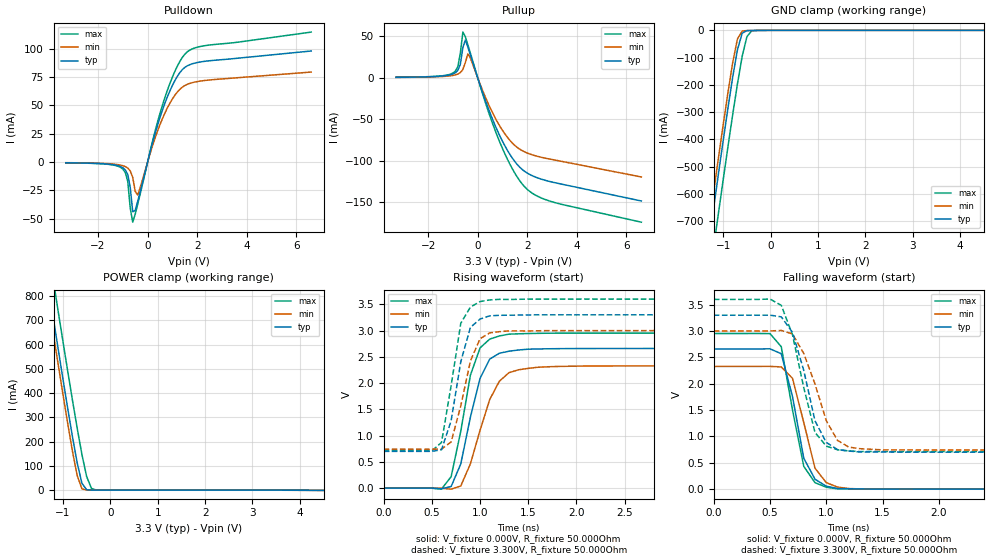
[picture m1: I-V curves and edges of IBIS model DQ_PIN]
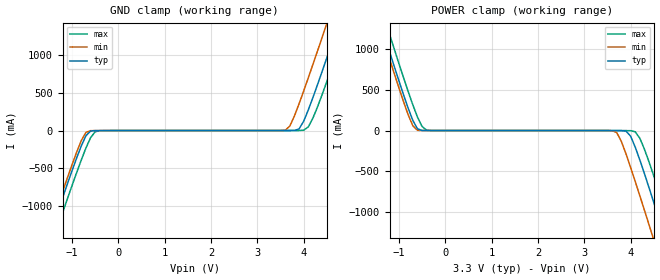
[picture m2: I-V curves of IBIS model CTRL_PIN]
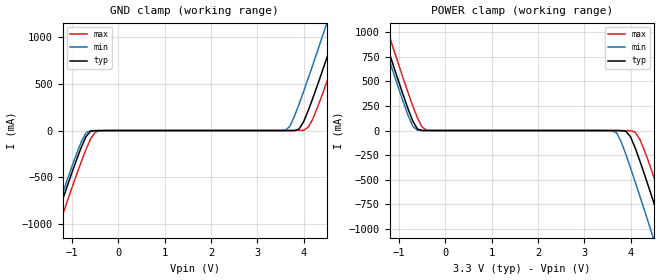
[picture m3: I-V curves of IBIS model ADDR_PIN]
|   k4s56xx32e.ibs : IBIS file for K4S56**32E-T75 by SAIBIS version 1.94
[IBIS Ver]   3.2
[File name]   k4s56xx32e.ibs
[File Rev]   1.00
[Date]   12/01/2004
[Source]   File generated by Jae-hyung LEE, DRAM Design, SAMSUNG Elec.
   > Samsung Electronics Co.
   > San #16 Banwol-Ri, Taean-Eup
   > Hwasung-City, Gyeonggi-Do
   > 445-701, Korea
   Contact : Kyu-hyoun Kim <kyu-hyoun@sec.samsung.com>
[Notes]   Rev 1.5
[Disclaimer] THESE IBIS MODELS ARE PROVIDED "AS IS" WITH NO WARRANTY AND
                SAMSUNG IS NOT RESPONSIBLE FOR ANY PROBLEMS THIS MODEL MAY CAUSE
                TO THE CUSTOMERS. THESE MODELS ARE SUBJECT TO CHANGE WITHOUT ANY
                NOTICE.
[Copyright]   Copyright 2004. Samsung Electronics Co. All rights reserved.
|   COMPONENT : K4S561632E-T75
[Component]   K4S561632E-T75
[Manufacturer]  Samsung Electronics Co.
[Package]
|Variable   typ   min   max
R_pkg   0.353   0.255   0.512
L_pkg   3.197nH   2.081nH   4.394nH
C_pkg   1.032pF   0.816pF   1.396pF
[Pin]   signal_name   model_name   R_pin   L_pin   C_pin
1   VDD   POWER
2   DQ0   DQ_PIN   0.512   3.162nH   1.396pF
3   VDDQ   POWER
4   DQ1   DQ_PIN   0.447   3.193nH   1.153pF
5   DQ2   DQ_PIN   0.426   2.980nH   1.191pF
6   VSSQ   GND
7   DQ3   DQ_PIN   0.381   2.652nH   1.036pF
8   DQ4   DQ_PIN   0.364   2.511nH   0.918pF
9   VDDQ   POWER
10   DQ5   DQ_PIN   0.342   2.307nH   0.833pF
11   DQ6   DQ_PIN   0.342   2.338nH   0.846pF
12   VSSQ   GND
13   DQ7   DQ_PIN   0.387   2.194nH   0.900pF
14   VDD   POWER
15   LDQM   DM_PIN   0.399   2.535nH   1.006pF
16   WEB   CTRL_PIN   0.327   3.042nH   0.912pF
17   CASB   CTRL_PIN   0.294   3.183nH   0.879pF
18   RASB   CTRL_PIN   0.285   3.298nH   0.844pF
19   CSB   CTRL_PIN   0.295   3.435nH   0.886pF
20   BA0   ADDR_PIN   0.308   3.619nH   0.949pF
21   BA1   ADDR_PIN   0.308   3.820nH   1.058pF
22   A10   ADDR_PIN   0.326   4.028nH   1.135pF
23   A0   ADDR_PIN   0.346   4.222nH   1.186pF
24   A1   ADDR_PIN   0.372   4.382nH   1.172pF
25   A2   ADDR_PIN   0.410   4.394nH   1.304pF
26   A3   ADDR_PIN   0.488   3.870nH   1.375pF
27   VDD   POWER
28   VSS   GND
29   A4   ADDR_PIN   0.455   3.722nH   1.360pF
30   A5   ADDR_PIN   0.384   4.194nH   1.317pF
31   A6   ADDR_PIN   0.348   4.165nH   1.167pF
32   A7   ADDR_PIN   0.322   3.998nH   1.088pF
33   A8   ADDR_PIN   0.304   3.802nH   1.083pF
34   A9   ADDR_PIN   0.285   3.596nH   1.008pF
35   A11   ADDR_PIN   0.270   3.402nH   0.922pF
36   A12   ADDR_PIN   0.258   3.233nH   0.869pF
37   CKE   CTRL_PIN   0.255   3.122nH   0.823pF
38   CLK   CLOCK_PIN   0.259   3.053nH   0.838pF
39   UDQM   DM_PIN   0.282   2.991nH   0.889pF
40   N.C   NC
41   VSS   GND
42   DQ8   DQ_PIN   0.351   2.097nH   0.846pF
43   VDDQ   POWER
44   DQ9   DQ_PIN   0.335   2.081nH   0.832pF
45   DQ10   DQ_PIN   0.317   2.145nH   0.816pF
46   VSSQ   GND
47   DQ11   DQ_PIN   0.334   2.384nH   0.903pF
48   DQ12   DQ_PIN   0.352   2.527nH   1.013pF
49   VDDQ   POWER
50   DQ13   DQ_PIN   0.396   2.857nH   1.027pF
51   DQ14   DQ_PIN   0.418   3.068nH   1.127pF
52   VSSQ   GND
53   DQ15   DQ_PIN   0.481   3.063nH   1.346pF
54   VSS   GND
|   COMPONENT : K4S560832E-T75
[Component]   K4S560832E-T75
[Manufacturer]  Samsung Electronics Co.
[Package]
|Variable   typ   min   max
R_pkg   0.346   0.255   0.512
L_pkg   3.398nH   2.081nH   4.394nH
C_pkg   1.051pF   0.823pF   1.396pF
[Pin]   signal_name   model_name   R_pin   L_pin   C_pin
1   VDD   POWER
2   DQ0   DQ_PIN   0.512   3.162nH   1.396pF
3   VDDQ   POWER
4   N.C   NC
5   DQ1   DQ_PIN   0.426   2.980nH   1.191pF
6   VSSQ   GND
7   N.C   NC
8   DQ2   DQ_PIN   0.364   2.511nH   0.918pF
9   VDDQ   POWER
10   N.C   NC
11   DQ3   DQ_PIN   0.342   2.338nH   0.846pF
12   VSSQ   GND
13   N.C   NC
14   VDD   POWER
15   N.C   NC
16   WEB   CTRL_PIN   0.327   3.042nH   0.912pF
17   CASB   CTRL_PIN   0.294   3.183nH   0.879pF
18   RASB   CTRL_PIN   0.285   3.298nH   0.844pF
19   CSB   CTRL_PIN   0.295   3.435nH   0.886pF
20   BA0   ADDR_PIN   0.308   3.619nH   0.949pF
21   BA1   ADDR_PIN   0.308   3.820nH   1.058pF
22   A10   ADDR_PIN   0.326   4.028nH   1.135pF
23   A0   ADDR_PIN   0.346   4.222nH   1.186pF
24   A1   ADDR_PIN   0.372   4.382nH   1.172pF
25   A2   ADDR_PIN   0.410   4.394nH   1.304pF
26   A3   ADDR_PIN   0.488   3.870nH   1.375pF
27   VDD   POWER
28   VSS   GND
29   A4   ADDR_PIN   0.455   3.722nH   1.360pF
30   A5   ADDR_PIN   0.384   4.194nH   1.317pF
31   A6   ADDR_PIN   0.348   4.165nH   1.167pF
32   A7   ADDR_PIN   0.322   3.998nH   1.088pF
33   A8   ADDR_PIN   0.304   3.802nH   1.083pF
34   A9   ADDR_PIN   0.285   3.596nH   1.008pF
35   A11   ADDR_PIN   0.270   3.402nH   0.922pF
36   A12   ADDR_PIN   0.258   3.233nH   0.869pF
37   CKE   CTRL_PIN   0.255   3.122nH   0.823pF
38   CLK   CLOCK_PIN   0.259   3.053nH   0.838pF
39   DQM   DM_PIN   0.282   2.991nH   0.889pF
40   N.C   NC
41   VSS   GND
42   N.C   NC
43   VDDQ   POWER
44   DQ4   DQ_PIN   0.335   2.081nH   0.832pF
45   N.C   NC
46   VSSQ   GND
47   DQ5   DQ_PIN   0.334   2.384nH   0.903pF
48   N.C   NC
49   VDDQ   POWER
50   DQ6   DQ_PIN   0.396   2.857nH   1.027pF
51   N.C   NC
52   VSSQ   GND
53   DQ7   DQ_PIN   0.481   3.063nH   1.346pF
54   VSS   GND
|   COMPONENT : K4S560432E-T75
[Component]   K4S560432E-T75
[Manufacturer]  Samsung Electronics Co.
[Package]
|Variable   typ   min   max
R_pkg   0.334   0.255   0.488
L_pkg   3.493nH   2.081nH   4.394nH
C_pkg   1.037pF   0.823pF   1.375pF
[Pin]   signal_name   model_name   R_pin   L_pin   C_pin
1   VDD   POWER
2   N.C   NC
3   VDDQ   POWER
4   N.C   NC
5   DQ0   DQ_PIN   0.426   2.980nH   1.191pF
6   VSSQ   GND
7   N.C   NC
8   N.C   NC
9   VDDQ   POWER
10   N.C   NC
11   DQ1   DQ_PIN   0.342   2.338nH   0.846pF
12   VSSQ   GND
13   N.C   NC
14   VDD   POWER
15   N.C   NC
16   WEB   CTRL_PIN   0.327   3.042nH   0.912pF
17   CASB   CTRL_PIN   0.294   3.183nH   0.879pF
18   RASB   CTRL_PIN   0.285   3.298nH   0.844pF
19   CSB   CTRL_PIN   0.295   3.435nH   0.886pF
20   BA0   ADDR_PIN   0.308   3.619nH   0.949pF
21   BA1   ADDR_PIN   0.308   3.820nH   1.058pF
22   A10   ADDR_PIN   0.326   4.028nH   1.135pF
23   A0   ADDR_PIN   0.346   4.222nH   1.186pF
24   A1   ADDR_PIN   0.372   4.382nH   1.172pF
25   A2   ADDR_PIN   0.410   4.394nH   1.304pF
26   A3   ADDR_PIN   0.488   3.870nH   1.375pF
27   VDD   POWER
28   VSS   GND
29   A4   ADDR_PIN   0.455   3.722nH   1.360pF
30   A5   ADDR_PIN   0.384   4.194nH   1.317pF
31   A6   ADDR_PIN   0.348   4.165nH   1.167pF
32   A7   ADDR_PIN   0.322   3.998nH   1.088pF
33   A8   ADDR_PIN   0.304   3.802nH   1.083pF
34   A9   ADDR_PIN   0.285   3.596nH   1.008pF
35   A11   ADDR_PIN   0.270   3.402nH   0.922pF
36   A12   ADDR_PIN   0.258   3.233nH   0.869pF
37   CKE   CTRL_PIN   0.255   3.122nH   0.823pF
38   CLK   CLOCK_PIN   0.259   3.053nH   0.838pF
39   DQM   DM_PIN   0.282   2.991nH   0.889pF
40   N.C   NC
41   VSS   GND
42   N.C   NC
43   VDDQ   POWER
44   DQ2   DQ_PIN   0.335   2.081nH   0.832pF
45   N.C   NC
46   VSSQ   GND
47   N.C   NC
48   N.C   NC
49   VDDQ   POWER
50   DQ3   DQ_PIN   0.396   2.857nH   1.027pF
51   N.C   NC
52   VSSQ   GND
53   N.C   NC
54   VSS   GND
| Models and submodels in the file (5): DQ_PIN (I/O), CTRL_PIN (Input), ADDR_PIN (Input), DM_PIN (Input), CLOCK_PIN (Input)
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|*****************************  MODEL SELECTOR *********************************
|   MODEL : DQ_PIN
[Model]   DQ_PIN
Model_type   I/O
Polarity   Inverting
Enable   Active-High
Vinl   = 0.800V
Vinh   = 2.000V
Vmeas   = 1.400V
Vref   = 1.400V
Cref   = 50.000pF
Rref   = 50.000Ohm
|   typ   min   max
C_comp   3.770pF   3.590pF   3.950pF
[Voltage Range]   3.300V   3.000V   3.600V
[Temperature Range]   25.0   85.0   0.0
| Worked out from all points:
|   slope of the pulldown table from 0 to 0.495 V, typ, clamps not added: 12.7 ohm
|   slope of the pullup table from 0 to 0.495 V, typ, clamps not added: 11.7 ohm
|   GND clamp passes 1 mA (typ) near -0.48 V on its own axis
|   POWER clamp passes 1 mA (typ) near -0.48 V on its own axis
|   rising waveform, V_fixture 0.000V, R_fixture 50.000Ohm: 20-80 % time 202ps typ, 250ps min, 197ps max; typ from 0 V to 2.66 V
|   falling waveform, V_fixture 0.000V, R_fixture 50.000Ohm: 20-80 % time 159ps typ, 164ps min, 157ps max; typ from 2.66 V to 0 V
|   rising waveform, V_fixture 3.300V, R_fixture 50.000Ohm: 20-80 % time 169ps typ, 184ps min, 151ps max; typ from 0.701 V to 3.3 V
|   falling waveform, V_fixture 3.300V, R_fixture 50.000Ohm: 20-80 % time 191ps typ, 224ps min, 192ps max; typ from 3.3 V to 0.701 V
[Pulldown]
|   Voltage   I(typ)   I(min)   I(max)
-3.3V     -640.2uA   -556.2uA   -673.6uA
-1V       -4.977mA   -3.18mA    -6.173mA
-800mV    -11.06mA   -5.316mA   -17.11mA
-700mV    -22.47mA   -7.817mA   -40.74mA
-600mV    -43.82mA   -13.52mA   -52.99mA
-500mV    -42.57mA   -25.87mA   -45.89mA
-400mV    -34.62mA   -29.05mA   -37.17mA
600mV     45.89mA    38.36mA    50.21mA
1.1V      71.75mA    58.86mA    79.94mA
1.5V      83.37mA    67.43mA    95.03mA
2.2V      88.46mA    71.58mA    102.2mA
6.6V      97.87mA    79.31mA    114.5mA
[Pullup]
|   Voltage   I(typ)   I(min)   I(max)
-3.3V     691.7uA    580.9uA    734.7uA
-1V       4.718mA    2.969mA    5.831mA
-800mV    9.236mA    4.635mA    13.84mA
-700mV    16.6mA     6.376mA    30.15mA
-600mV    36.71mA    10.16mA    55.3mA
-500mV    45.72mA    18.5mA     49.77mA
-400mV    37.4mA     28.91mA    40.04mA
800mV     -64.15mA   -53.58mA   -70.97mA
1.4V      -97.06mA   -78.79mA   -110mA
1.9V      -113mA     -89.47mA   -131.8mA
3V        -125.8mA   -98.55mA   -149.6mA
6.6V      -148.7mA   -119.7mA   -174.3mA
[GND Clamp]
|   Voltage   I(typ)   I(min)   I(max)
-3.3V     -3.339A    -3.282A    -3.479A
-1.3V     -773.5mA   -714.9mA   -918mA
-1.2V     -648.8mA   -590.1mA   -793.2mA
-1.1V     -525.2mA   -466.7mA   -669.4mA
-900mV    -284.6mA   -227.8mA   -426.2mA
-800mV    -171.2mA   -118mA     -308.6mA
-700mV    -71.01mA   -31.24mA   -196.3mA
-600mV    -10.46mA   -2.741mA   -95.08mA
-500mV    -1.104mA   -738uA     -22.99mA
-400mV    -591.6uA   -527.4uA   -2.118mA
-300mV    -435.2uA   -396.4uA   -529.7uA
6.6V      738.8nA    762.2nA    15.41uA
[POWER Clamp]
|   Voltage   I(typ)   I(min)   I(max)
-3.3V     3.396A     3.335A     3.547A
-1.4V     954.8mA    891.5mA    1.111A
-1.3V     828.9mA    765.5mA    984.7mA
-1.2V     703.6mA    640.3mA    859.4mA
-1.1V     579.4mA    516.2mA    735mA
-800mV    219.8mA    159.9mA    370.5mA
-700mV    111.8mA    59.67mA    254.8mA
-600mV    27.79mA    5.002mA    146.3mA
-500mV    1.251mA    84.76uA    55.17mA
-400mV    26.59uA    1.454uA    7.104mA
-300mV    786.2nA    244.7nA    329.7uA
6.6V      -3.627mA   -3.498mA   -3.519mA
[Ramp]
R_load = 50.000Ohm
|   typ   min   max
dV/dt_r   1.595V/200.000ps   1.396V/200.000ps   1.771V/200.000ps
dV/dt_f   1.560V/200.000ps   1.355V/200.000ps   1.733V/200.000ps
|Slew_r   7.976V/ns   6.981V/ns   8.857V/ns
|Slew_f   7.798V/ns   6.777V/ns   8.666V/ns
[Rising Waveform]
V_fixture = 0.000V
V_fixture_min = 0.000V
V_fixture_max = 0.000V
R_fixture = 50.000Ohm
L_fixture = 0.000nH
C_fixture = 0.000pF
|dV/dt_r   1.595V/200.000ps   1.396V/200.000ps   1.771V/200.000ps
|Slew_r   7.976V/ns   6.981V/ns   8.857V/ns
|   Time   V(typ)   V(min)   V(max)
0s        344.2uV    444.2uV    337.3uV
600ps     -12.23mV   -2.181mV   -17.61mV
700ps     31.28mV    -19.51mV   218.4mV
800ps     461.8mV    41.43mV    1.085V
900ps     1.353V     464.3mV    2.153V
1ns       2.091V     1.103V     2.67V
1.1ns     2.457V     1.687V     2.837V
1.2ns     2.568V     2.036V     2.897V
1.7ns     2.653V     2.31V      2.95V
5ns       2.659V     2.327V     2.953V
[Falling Waveform]
V_fixture = 0.000V
V_fixture_min = 0.000V
V_fixture_max = 0.000V
R_fixture = 50.000Ohm
L_fixture = 0.000nH
C_fixture = 0.000pF
|dV/dt_f   1.595V/200.000ps   1.396V/100.000ps   1.771V/100.000ps
|Slew_f   7.976V/ns   13.961V/ns   17.713V/ns
|   Time   V(typ)   V(min)   V(max)
0s        2.659V     2.327V     2.953V
500ps     2.662V     2.328V     2.951V
600ps     2.568V     2.318V     2.702V
700ps     1.754V     2.1V       1.5V
800ps     586.2mV    1.261V     431.1mV
900ps     186.6mV    395.8mV    121.3mV
1ns       54.32mV    122.3mV    35.32mV
1.1ns     10.69mV    37.79mV    4.13mV
1.3ns     2.915mV    3.362mV    3.877mV
5ns       341.3uV    441.2uV    334.4uV
[Rising Waveform]
V_fixture = 3.300V
V_fixture_min = 3.000V
V_fixture_max = 3.600V
R_fixture = 50.000Ohm
L_fixture = 0.000nH
C_fixture = 0.000pF
|dV/dt_r   1.560V/200.000ps   1.355V/200.000ps   1.733V/100.000ps
|Slew_r   7.798V/ns   6.777V/ns   17.332V/ns
|   Time   V(typ)   V(min)   V(max)
0s        700.5mV    740.9mV    711.3mV
500ps     700.5mV    741mV      711.2mV
600ps     729.9mV    743.3mV    869.9mV
700ps     1.286V     880.7mV    1.953V
800ps     2.407V     1.567V     3.139V
900ps     3.061V     2.422V     3.448V
1ns       3.219V     2.845V     3.553V
1.1ns     3.28V      2.956V     3.584V
1.3ns     3.293V     2.994V     3.592V
5ns       3.3V       3V         3.6V
[Falling Waveform]
V_fixture = 3.300V
V_fixture_min = 3.000V
V_fixture_max = 3.600V
R_fixture = 50.000Ohm
L_fixture = 0.000nH
C_fixture = 0.000pF
|dV/dt_f   1.560V/200.000ps   1.355V/200.000ps   1.733V/200.000ps
|Slew_f   7.798V/ns   6.777V/ns   8.666V/ns
|   Time   V(typ)   V(min)   V(max)
0s        3.3V       3V         3.6V
500ps     3.301V     3.001V     3.606V
600ps     3.268V     3.01V      3.487V
700ps     2.974V     2.943V     2.927V
800ps     2.252V     2.573V     1.924V
900ps     1.294V     1.992V     1.074V
1ns       885.4mV    1.298V     815.3mV
1.1ns     749.8mV    924.3mV    745.9mV
1.5ns     703.3mV    744.3mV    714.6mV
5ns       700.5mV    740.9mV    711.2mV
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|   MODEL : CTRL_PIN
[Model]   CTRL_PIN
Model_type   Input
Vinl   = 0.800V
Vinh   = 2.000V
|   typ   min   max
C_comp   2.910pF   2.830pF   3.010pF
[Voltage Range]   3.300V   3.000V   3.600V
[Temperature Range]   25.0   85.0   0.0
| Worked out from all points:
|   GND clamp passes 1 mA (typ) near -0.44 V on its own axis
|   POWER clamp passes 1 mA (typ) near -0.50 V on its own axis
[GND Clamp]
|   Voltage   I(typ)   I(min)   I(max)
-3.3V     -4.759A    -4.682A    -4.95A
-1.6V     -1.61A     -1.53A     -1.807A
-1.4V     -1.246A    -1.165A    -1.444A
-800mV    -203.8mA   -132.7mA   -390.1mA
-500mV    -1.173mA   -905.2uA   -15.98mA
3.6V      376.8nA    2.925mA    93.18nA
4V        124.7mA    526mA      4.16mA
4.2V      440.2mA    880mA      166.3mA
4.5V      967.4mA    1.424A     652mA
4.7V      1.329A     1.79A      1.004A
4.9V      1.694A     2.158A     1.363A
6.6V      4.844A     5.32A      4.495A
[POWER Clamp]
|   Voltage   I(typ)   I(min)   I(max)
-3.3V     4.844A     4.76A      5.053A
-1.5V     1.511A     1.424A     1.725A
-1.3V     1.147A     1.06A      1.363A
-700mV    124.8mA    58.49mA    317.2mA
-400mV    14.07uA    727.8nA    4.165mA
3.6V      -748.3uA   -1.957mA   -115.7uA
3.8V      -1.173mA   -132.7mA   -648.8uA
4.1V      -203.8mA   -627.8mA   -15.98mA
4.5V      -885.4mA   -1.347A    -557.6mA
4.7V      -1.246A    -1.713A    -905.9mA
4.9V      -1.61A     -2.081A    -1.263A
6.6V      -4.759A    -5.241A    -4.392A
|   MODEL : ADDR_PIN
[Model]   ADDR_PIN
Model_type   Input
Vinl   = 0.800V
Vinh   = 2.000V
|   typ   min   max
C_comp   2.600pF   2.490pF   2.660pF
[Voltage Range]   3.300V   3.000V   3.600V
[Temperature Range]   25.0   85.0   0.0
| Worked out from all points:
|   GND clamp passes 1 mA (typ) near -0.48 V on its own axis
|   POWER clamp passes 1 mA (typ) near -0.50 V on its own axis
[GND Clamp]
|   Voltage   I(typ)   I(min)   I(max)
-3.3V     -3.867A    -3.803A    -4.025A
-1.5V     -1.17A     -1.104A    -1.333A
-1.4V     -1.023A    -956.8mA   -1.186A
-800mV    -177.6mA   -118.3mA   -332mA
-600mV    -7.342mA   -2.03mA    -89.41mA
-400mV    -729.7uA   -637.1uA   -1.725mA
3.6V      287.6nA    1.973mA    102.1nA
4V        95.5mA     419.4mA    2.808mA
4.5V      775.8mA    1.146A     519.4mA
4.7V      1.068A     1.442A     803.8mA
4.9V      1.363A     1.74A      1.094A
6.6V      3.914A     4.299A     3.629A
[POWER Clamp]
|   Voltage   I(typ)   I(min)   I(max)
-3.3V     3.914A     3.846A     4.081A
-1.5V     1.216A     1.146A     1.388A
-1.3V     921.5mA    851.4mA    1.094A
-700mV    95.61mA    43.45mA    249.1mA
-400mV    9.42uA     519.6nA    2.811mA
3.6V      -565.4uA   -2.03mA    -62.95uA
3.9V      -7.342mA   -244.1mA   -661.5uA
4.1V      -177.6mA   -521.5mA   -17.18mA
4.5V      -731.4mA   -1.104A    -468.2mA
4.7V      -1.023A    -1.4A      -750.8mA
4.9V      -1.318A    -1.698A    -1.04A
6.6V      -3.867A    -4.257A    -3.574A
